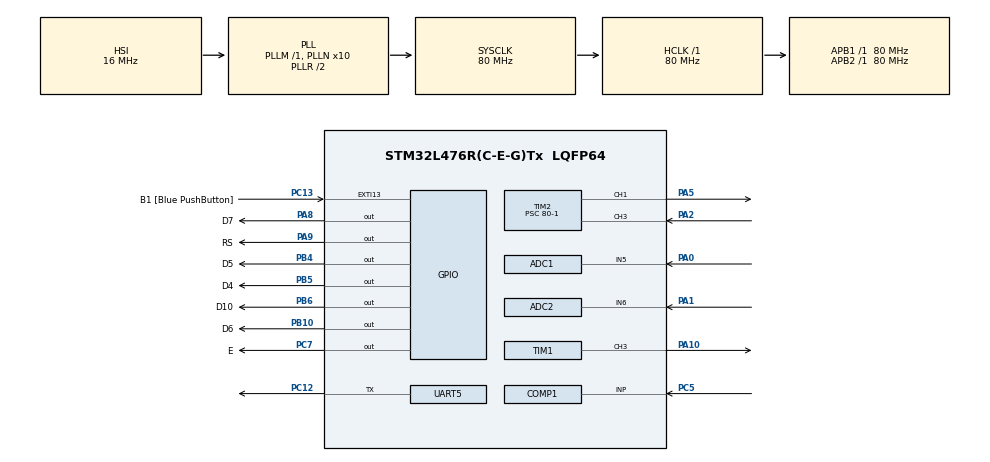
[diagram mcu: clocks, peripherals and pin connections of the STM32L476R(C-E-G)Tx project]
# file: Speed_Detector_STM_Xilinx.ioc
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ADC1.Channel-0\#ChannelRegularConversion=ADC_CHANNEL_5
ADC1.ClockPrescaler=ADC_CLOCK_ASYNC_DIV64
ADC1.ContinuousConvMode=ENABLE
ADC1.DMAContinuousRequests=ENABLE
ADC1.NbrOfConversionFlag=1
ADC1.OffsetNumber-0\#ChannelRegularConversion=ADC_OFFSET_NONE
ADC1.Rank-0\#ChannelRegularConversion=1
ADC1.SamplingTime-0\#ChannelRegularConversion=ADC_SAMPLETIME_2CYCLES_5
ADC1.master=1
ADC2.Channel-1\#ChannelRegularConversion=ADC_CHANNEL_6
ADC2.ClockPrescaler=ADC_CLOCK_ASYNC_DIV64
ADC2.ContinuousConvMode=ENABLE
ADC2.DMAContinuousRequests=ENABLE
ADC2.NbrOfConversionFlag=1
ADC2.OffsetNumber-1\#ChannelRegularConversion=ADC_OFFSET_NONE
ADC2.Rank-1\#ChannelRegularConversion=1
ADC2.SamplingTime-1\#ChannelRegularConversion=ADC_SAMPLETIME_247CYCLES_5
COMP1.Hysteresis=COMP_HYSTERESIS_HIGH
COMP1.TriggerMode=COMP_TRIGGERMODE_IT_RISING
Dma.ADC1.0.Direction=DMA_PERIPH_TO_MEMORY
Dma.ADC1.0.Instance=DMA1_Channel1
Dma.ADC1.0.MemDataAlignment=DMA_MDATAALIGN_WORD
Dma.ADC1.0.MemInc=DMA_MINC_ENABLE
Dma.ADC1.0.Mode=DMA_CIRCULAR
Dma.ADC1.0.PeriphDataAlignment=DMA_PDATAALIGN_WORD
Dma.ADC1.0.PeriphInc=DMA_PINC_DISABLE
Dma.ADC1.0.Priority=DMA_PRIORITY_LOW
Dma.ADC2.1.Direction=DMA_PERIPH_TO_MEMORY
Dma.ADC2.1.Instance=DMA1_Channel2
Dma.ADC2.1.MemDataAlignment=DMA_MDATAALIGN_WORD
Dma.ADC2.1.MemInc=DMA_MINC_ENABLE
Dma.ADC2.1.Mode=DMA_NORMAL
Dma.ADC2.1.PeriphDataAlignment=DMA_PDATAALIGN_WORD
Dma.ADC2.1.PeriphInc=DMA_PINC_DISABLE
Dma.ADC2.1.Priority=DMA_PRIORITY_LOW
Dma.Request0=ADC1
Dma.Request1=ADC2
Mcu.Family=STM32L4
Mcu.Name=STM32L476R(C-E-G)Tx
Mcu.Package=LQFP64
NVIC.COMP_IRQn=true\:0\:0\:false\:false\:true\:false\:true\:true
NVIC.DMA1_Channel1_IRQn=true\:0\:0\:false\:false\:true\:false\:true\:true
NVIC.DMA1_Channel2_IRQn=true\:0\:0\:false\:false\:true\:false\:true\:true
NVIC.PriorityGroup=NVIC_PRIORITYGROUP_4
NVIC.TIM2_IRQn=true\:0\:0\:false\:false\:true\:true\:true\:true
NVIC.UART5_IRQn=true\:0\:0\:false\:false\:true\:true\:true\:true
PA0.Signal=ADCx_IN5
PA1.Signal=ADCx_IN6
PA10.Signal=S_TIM1_CH3
PA13\ (JTMS-SWDIO).GPIO_Label=TMS
PA13\ (JTMS-SWDIO).Mode=Serial_Wire
PA13\ (JTMS-SWDIO).Signal=SYS_JTMS-SWDIO
PA14\ (JTCK-SWCLK).GPIO_Label=TCK
PA14\ (JTCK-SWCLK).Mode=Serial_Wire
PA14\ (JTCK-SWCLK).Signal=SYS_JTCK-SWCLK
PA2.Signal=S_TIM2_CH3
PA5.Signal=S_TIM2_CH1
PA8.GPIO_Label=D7
PA8.Signal=GPIO_Output
PA9.GPIO_Label=RS
PA9.Signal=GPIO_Output
PB10.GPIO_Label=D6
PB10.Signal=GPIO_Output
PB3\ (JTDO-TRACESWO).GPIO_Label=SWO
PB3\ (JTDO-TRACESWO).Signal=SYS_JTDO-SWO
PB4\ (NJTRST).GPIO_Label=D5
PB4\ (NJTRST).Signal=GPIO_Output
PB5.GPIO_Label=D4
PB5.Signal=GPIO_Output
PB6.GPIO_Label=D10
PB6.Signal=GPIO_Output
PC12.Mode=Half_duplex(single_wire_mode)
PC12.Signal=UART5_TX
PC13.GPIO_Label=B1 [Blue PushButton]
PC13.GPIO_ModeDefaultEXTI=GPIO_MODE_IT_FALLING
PC13.GPIO_PuPd=GPIO_NOPULL
PC13.Signal=GPXTI13
PC14-OSC32_IN\ (PC14).Mode=LSE-External-Oscillator
PC14-OSC32_IN\ (PC14).Signal=RCC_OSC32_IN
PC15-OSC32_OUT\ (PC15).Mode=LSE-External-Oscillator
PC15-OSC32_OUT\ (PC15).Signal=RCC_OSC32_OUT
PC5.Mode=INP
PC5.Signal=COMP1_INP
PC7.GPIO_Label=E
PC7.Signal=GPIO_Output
PH0-OSC_IN\ (PH0).Mode=HSE-External-Oscillator
PH0-OSC_IN\ (PH0).Signal=RCC_OSC_IN
PH1-OSC_OUT\ (PH1).Mode=HSE-External-Oscillator
PH1-OSC_OUT\ (PH1).Signal=RCC_OSC_OUT
ProjectManager.HeapSize=0x200
ProjectManager.StackSize=0x400
ProjectManager.TargetToolchain=STM32CubeIDE
RCC.ADCFreq_Value=64000000
RCC.AHBFreq_Value=80000000
RCC.APB1Freq_Value=80000000
RCC.APB1TimFreq_Value=80000000
RCC.APB2Freq_Value=80000000
RCC.APB2TimFreq_Value=80000000
RCC.CortexFreq_Value=80000000
RCC.HCLKFreq_Value=80000000
RCC.HSE_VALUE=8000000
RCC.HSI_VALUE=16000000
RCC.MSI_VALUE=4000000
RCC.PLLN=10
RCC.PLLSourceVirtual=RCC_PLLSOURCE_HSI
RCC.PREFETCH_ENABLE=1
RCC.SYSCLKFreq_VALUE=80000000
RCC.SYSCLKSource=RCC_SYSCLKSOURCE_PLLCLK
RCC.USBFreq_Value=64000000
RCC.VCOOutputFreq_Value=160000000
SH.ADCx_IN5.0=ADC1_IN5,IN5-Single-Ended
SH.ADCx_IN6.0=ADC2_IN6,IN6-Single-Ended
SH.S_TIM1_CH3.0=TIM1_CH3,PWM Generation3 CH3
SH.S_TIM2_CH1.0=TIM2_CH1,PWM Generation1 CH1
SH.S_TIM2_CH3.0=TIM2_CH3,Input_Capture3_from_TI3
TIM1.Channel-PWM\ Generation3\ CH3=TIM_CHANNEL_3
TIM1.Period=100-1
TIM1.Prescaler=80-1
TIM16.Prescaler=79
TIM2.Channel-Input_Capture3_from_TI3=TIM_CHANNEL_3
TIM2.Channel-PWM\ Generation1\ CH1=TIM_CHANNEL_1
TIM2.Period=3999999
TIM2.Prescaler=80-1
UART5.BaudRate=57600
UART5.Mode=MODE_TX
VP_COMP1_VS_VREFINT.Mode=VREFINT
VP_TIM16_VS_ClockSourceINT.Mode=Enable_Timer
VP_TIM1_VS_ClockSourceINT.Mode=Internal
VP_TIM2_VS_ClockSourceINT.Mode=Internal
board=NUCLEO-L476RG

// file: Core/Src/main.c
/* USER CODE BEGIN Header */
/**
  ******************************************************************************
  * @file           : main.c
  * @brief          : Main program body
  ******************************************************************************
  * @attention
  *
  * Copyright (c) 2022 STMicroelectronics.
  * All rights reserved.
  *
  * This software is licensed under terms that can be found in the LICENSE file
  * in the root directory of this software component.
  * If no LICENSE file comes with this software, it is provided AS-IS.
  *
  ******************************************************************************
  */
/* USER CODE END Header */
#include "main.h"

/* USER CODE BEGIN Includes */
#include "display.h"
#include "comparator.h"
#include "FFT.h"
#include <string.h>
#include <stdio.h>
#include "math.h"

#define FFT_Length 4096
/* USER CODE END Includes */

ADC_HandleTypeDef hadc1;
ADC_HandleTypeDef hadc2;
DMA_HandleTypeDef hdma_adc1;
DMA_HandleTypeDef hdma_adc2;

COMP_HandleTypeDef hcomp1;

TIM_HandleTypeDef htim1;
TIM_HandleTypeDef htim2;
TIM_HandleTypeDef htim16;

UART_HandleTypeDef huart5;

void SystemClock_Config(void);
void PeriphCommonClock_Config(void);
static void MX_GPIO_Init(void);
static void MX_DMA_Init(void);
static void MX_TIM16_Init(void);
static void MX_COMP1_Init(void);
static void MX_TIM2_Init(void);
static void MX_ADC1_Init(void);
static void MX_ADC2_Init(void);
static void MX_TIM1_Init(void);
static void MX_UART5_Init(void);

/* USER CODE BEGIN 0 */
uint32_t adc_buf[FFT_Length];
uint32_t lcd_buf;

int flag = 0;
uint32_t adc_frequency = 0;

void HAL_COMP_TriggerCallback(COMP_HandleTypeDef *hcomp){
	rising_edge_trigger(hcomp, &hcomp1, &htim16);
}

void HAL_TIM_PeriodElapsedCallback(TIM_HandleTypeDef* htim){
	Update_rollover(htim, &htim16);
}

void HAL_ADC_ConvCpltCallback(ADC_HandleTypeDef *hadc){
	if(hadc==&hadc2){
		flag = 1;
		HAL_ADC_Stop_DMA(&hadc2);
	}
}

uint32_t get_adc_frequency(){
	return adc_frequency;
}

/* USER CODE END 0 */

int main(void)
{
  /* USER CODE BEGIN 1 */
	//char uart_buf[50];
	//int uart_buf_len;
	struct ADC_param ADC_val={0};
	struct FFT_res FFT_val={0};
  /* USER CODE END 1 */

  /* MCU Configuration--------------------------------------------------------*/

  /* Reset of all peripherals, Initializes the Flash interface and the Systick. */
  HAL_Init();

  /* Configure the system clock */
  SystemClock_Config();

/* Configure the peripherals common clocks */
  PeriphCommonClock_Config();

  /* Initialize all configured peripherals */
  MX_GPIO_Init();
  MX_DMA_Init();
  MX_TIM16_Init();
  MX_COMP1_Init();
  MX_TIM2_Init();
  MX_ADC1_Init();
  MX_ADC2_Init();
  MX_TIM1_Init();
  MX_UART5_Init();
  /* USER CODE BEGIN 2 */
  //-----------------LCD
  HAL_ADC_Start_DMA(&hadc1, &lcd_buf,1); // Start ADC reading from DMA (ADC_name, buffer, buffer_length)
  LCD_init(GPIOA, RS_Pin, GPIOC, E_Pin, GPIOB, D4_Pin, GPIOB, D5_Pin, GPIOB, D6_Pin, GPIOA, D7_Pin, GPIOB, D10_Pin);
  //-----------------COMP
  HAL_TIM_Base_Start_IT(&htim16);
  HAL_COMP_Start(&hcomp1);
  //set up PWM for COMP testing
  HAL_TIM_PWM_Start(&htim2, TIM_CHANNEL_1);
  __HAL_TIM_SET_COMPARE(&htim2, TIM_CHANNEL_1, 1999999);

  //-----------------ADC
  HAL_ADC_Start_DMA(&hadc2, (uint32_t*)adc_buf, 4096);
  ADC_val.bit=12; //largest ADC bit resolution, 16-bit doesn't work
  ADC_val.prescaler=64; //prescalar of clock, cannot be too high or have weird reading
  ADC_val.sampling_time=247.5; //sampling time
  ADC_val.speed=64000000;					//clock speed on .ioc file
  ADC_val.adc_buf_len=4096;				//buffer length
  //uint32_t adc_buf[4096];				//buffer array
  ADC_val.adc_buf= adc_buf;				//point adc_buf to ADC buffer array

  // ----------------TX
  //HAL_UART_Transmit_DMA(&huart5, &speed, 1);

  /* USER CODE END 2 */

  /* Infinite loop */
  while (1)
  {

    /* USER CODE BEGIN 3 */

	if (flag == 1){
		start_FFT(&flag,&ADC_val,&FFT_val); // start FFT
		adc_frequency = (FFT_val.fdominant); // assign frequency obtained from ADC
		HAL_ADC_Start_DMA(&hadc2, adc_buf, ADC_val.adc_buf_len); //restart DMA
	}
	  //to read the keypad buttons if any is pressed
	  keypad_read_key(lcd_buf, &huart5);
  }
  /* USER CODE END 3 */
}

void SystemClock_Config(void)
{
  RCC_OscInitTypeDef RCC_OscInitStruct = {0};
  RCC_ClkInitTypeDef RCC_ClkInitStruct = {0};

  /** Configure the main internal regulator output voltage
  */
  if (HAL_PWREx_ControlVoltageScaling(PWR_REGULATOR_VOLTAGE_SCALE1) != HAL_OK)
  {
    Error_Handler();
  }

  /** Initializes the RCC Oscillators according to the specified parameters
  * in the RCC_OscInitTypeDef structure.
  */
  RCC_OscInitStruct.OscillatorType = RCC_OSCILLATORTYPE_HSI;
  RCC_OscInitStruct.HSIState = RCC_HSI_ON;
  RCC_OscInitStruct.HSICalibrationValue = RCC_HSICALIBRATION_DEFAULT;
  RCC_OscInitStruct.PLL.PLLState = RCC_PLL_ON;
  RCC_OscInitStruct.PLL.PLLSource = RCC_PLLSOURCE_HSI;
  RCC_OscInitStruct.PLL.PLLM = 1;
  RCC_OscInitStruct.PLL.PLLN = 10;
  RCC_OscInitStruct.PLL.PLLP = RCC_PLLP_DIV7;
  RCC_OscInitStruct.PLL.PLLQ = RCC_PLLQ_DIV2;
  RCC_OscInitStruct.PLL.PLLR = RCC_PLLR_DIV2;
  if (HAL_RCC_OscConfig(&RCC_OscInitStruct) != HAL_OK)
  {
    Error_Handler();
  }

  /** Initializes the CPU, AHB and APB buses clocks
  */
  RCC_ClkInitStruct.ClockType = RCC_CLOCKTYPE_HCLK|RCC_CLOCKTYPE_SYSCLK
                              |RCC_CLOCKTYPE_PCLK1|RCC_CLOCKTYPE_PCLK2;
  RCC_ClkInitStruct.SYSCLKSource = RCC_SYSCLKSOURCE_PLLCLK;
  RCC_ClkInitStruct.AHBCLKDivider = RCC_SYSCLK_DIV1;
  RCC_ClkInitStruct.APB1CLKDivider = RCC_HCLK_DIV1;
  RCC_ClkInitStruct.APB2CLKDivider = RCC_HCLK_DIV1;

  if (HAL_RCC_ClockConfig(&RCC_ClkInitStruct, FLASH_LATENCY_4) != HAL_OK)
  {
    Error_Handler();
  }
}

void PeriphCommonClock_Config(void)
{
  RCC_PeriphCLKInitTypeDef PeriphClkInit = {0};

  /** Initializes the peripherals clock
  */
  PeriphClkInit.PeriphClockSelection = RCC_PERIPHCLK_ADC;
  PeriphClkInit.AdcClockSelection = RCC_ADCCLKSOURCE_PLLSAI1;
  PeriphClkInit.PLLSAI1.PLLSAI1Source = RCC_PLLSOURCE_HSI;
  PeriphClkInit.PLLSAI1.PLLSAI1M = 1;
  PeriphClkInit.PLLSAI1.PLLSAI1N = 8;
  PeriphClkInit.PLLSAI1.PLLSAI1P = RCC_PLLP_DIV7;
  PeriphClkInit.PLLSAI1.PLLSAI1Q = RCC_PLLQ_DIV2;
  PeriphClkInit.PLLSAI1.PLLSAI1R = RCC_PLLR_DIV2;
  PeriphClkInit.PLLSAI1.PLLSAI1ClockOut = RCC_PLLSAI1_ADC1CLK;
  if (HAL_RCCEx_PeriphCLKConfig(&PeriphClkInit) != HAL_OK)
  {
    Error_Handler();
  }
}

static void MX_ADC1_Init(void)
{

  ADC_MultiModeTypeDef multimode = {0};
  ADC_ChannelConfTypeDef sConfig = {0};

  /** Common config
  */
  hadc1.Instance = ADC1;
  hadc1.Init.ClockPrescaler = ADC_CLOCK_ASYNC_DIV64;
  hadc1.Init.Resolution = ADC_RESOLUTION_12B;
  hadc1.Init.DataAlign = ADC_DATAALIGN_RIGHT;
  hadc1.Init.ScanConvMode = ADC_SCAN_DISABLE;
  hadc1.Init.EOCSelection = ADC_EOC_SINGLE_CONV;
  hadc1.Init.LowPowerAutoWait = DISABLE;
  hadc1.Init.ContinuousConvMode = ENABLE;
  hadc1.Init.NbrOfConversion = 1;
  hadc1.Init.DiscontinuousConvMode = DISABLE;
  hadc1.Init.ExternalTrigConv = ADC_SOFTWARE_START;
  hadc1.Init.ExternalTrigConvEdge = ADC_EXTERNALTRIGCONVEDGE_NONE;
  hadc1.Init.DMAContinuousRequests = ENABLE;
  hadc1.Init.Overrun = ADC_OVR_DATA_PRESERVED;
  hadc1.Init.OversamplingMode = DISABLE;
  if (HAL_ADC_Init(&hadc1) != HAL_OK)
  {
    Error_Handler();
  }

  /** Configure the ADC multi-mode
  */
  multimode.Mode = ADC_MODE_INDEPENDENT;
  if (HAL_ADCEx_MultiModeConfigChannel(&hadc1, &multimode) != HAL_OK)
  {
    Error_Handler();
  }

  /** Configure Regular Channel
  */
  sConfig.Channel = ADC_CHANNEL_5;
  sConfig.Rank = ADC_REGULAR_RANK_1;
  sConfig.SamplingTime = ADC_SAMPLETIME_2CYCLES_5;
  sConfig.SingleDiff = ADC_SINGLE_ENDED;
  sConfig.OffsetNumber = ADC_OFFSET_NONE;
  sConfig.Offset = 0;
  if (HAL_ADC_ConfigChannel(&hadc1, &sConfig) != HAL_OK)
  {
    Error_Handler();
  }

}

static void MX_ADC2_Init(void)
{

  ADC_ChannelConfTypeDef sConfig = {0};

  /** Common config
  */
  hadc2.Instance = ADC2;
  hadc2.Init.ClockPrescaler = ADC_CLOCK_ASYNC_DIV64;
  hadc2.Init.Resolution = ADC_RESOLUTION_12B;
  hadc2.Init.DataAlign = ADC_DATAALIGN_RIGHT;
  hadc2.Init.ScanConvMode = ADC_SCAN_DISABLE;
  hadc2.Init.EOCSelection = ADC_EOC_SINGLE_CONV;
  hadc2.Init.LowPowerAutoWait = DISABLE;
  hadc2.Init.ContinuousConvMode = ENABLE;
  hadc2.Init.NbrOfConversion = 1;
  hadc2.Init.DiscontinuousConvMode = DISABLE;
  hadc2.Init.ExternalTrigConv = ADC_SOFTWARE_START;
  hadc2.Init.ExternalTrigConvEdge = ADC_EXTERNALTRIGCONVEDGE_NONE;
  hadc2.Init.DMAContinuousRequests = ENABLE;
  hadc2.Init.Overrun = ADC_OVR_DATA_PRESERVED;
  hadc2.Init.OversamplingMode = DISABLE;
  if (HAL_ADC_Init(&hadc2) != HAL_OK)
  {
    Error_Handler();
  }

  /** Configure Regular Channel
  */
  sConfig.Channel = ADC_CHANNEL_6;
  sConfig.Rank = ADC_REGULAR_RANK_1;
  sConfig.SamplingTime = ADC_SAMPLETIME_247CYCLES_5;
  sConfig.SingleDiff = ADC_SINGLE_ENDED;
  sConfig.OffsetNumber = ADC_OFFSET_NONE;
  sConfig.Offset = 0;
  if (HAL_ADC_ConfigChannel(&hadc2, &sConfig) != HAL_OK)
  {
    Error_Handler();
  }

}

static void MX_COMP1_Init(void)
{

  hcomp1.Instance = COMP1;
  hcomp1.Init.InvertingInput = COMP_INPUT_MINUS_VREFINT;
  hcomp1.Init.NonInvertingInput = COMP_INPUT_PLUS_IO1;
  hcomp1.Init.OutputPol = COMP_OUTPUTPOL_NONINVERTED;
  hcomp1.Init.Hysteresis = COMP_HYSTERESIS_HIGH;
  hcomp1.Init.BlankingSrce = COMP_BLANKINGSRC_NONE;
  hcomp1.Init.Mode = COMP_POWERMODE_HIGHSPEED;
  hcomp1.Init.WindowMode = COMP_WINDOWMODE_DISABLE;
  hcomp1.Init.TriggerMode = COMP_TRIGGERMODE_IT_RISING;
  if (HAL_COMP_Init(&hcomp1) != HAL_OK)
  {
    Error_Handler();
  }

}

static void MX_TIM1_Init(void)
{

  TIM_ClockConfigTypeDef sClockSourceConfig = {0};
  TIM_MasterConfigTypeDef sMasterConfig = {0};
  TIM_OC_InitTypeDef sConfigOC = {0};
  TIM_BreakDeadTimeConfigTypeDef sBreakDeadTimeConfig = {0};

  htim1.Instance = TIM1;
  htim1.Init.Prescaler = 80-1;
  htim1.Init.CounterMode = TIM_COUNTERMODE_UP;
  htim1.Init.Period = 100-1;
  htim1.Init.ClockDivision = TIM_CLOCKDIVISION_DIV1;
  htim1.Init.RepetitionCounter = 0;
  htim1.Init.AutoReloadPreload = TIM_AUTORELOAD_PRELOAD_DISABLE;
  if (HAL_TIM_Base_Init(&htim1) != HAL_OK)
  {
    Error_Handler();
  }
  sClockSourceConfig.ClockSource = TIM_CLOCKSOURCE_INTERNAL;
  if (HAL_TIM_ConfigClockSource(&htim1, &sClockSourceConfig) != HAL_OK)
  {
    Error_Handler();
  }
  if (HAL_TIM_PWM_Init(&htim1) != HAL_OK)
  {
    Error_Handler();
  }
  sMasterConfig.MasterOutputTrigger = TIM_TRGO_RESET;
  sMasterConfig.MasterOutputTrigger2 = TIM_TRGO2_RESET;
  sMasterConfig.MasterSlaveMode = TIM_MASTERSLAVEMODE_DISABLE;
  if (HAL_TIMEx_MasterConfigSynchronization(&htim1, &sMasterConfig) != HAL_OK)
  {
    Error_Handler();
  }
  sConfigOC.OCMode = TIM_OCMODE_PWM1;
  sConfigOC.Pulse = 0;
  sConfigOC.OCPolarity = TIM_OCPOLARITY_HIGH;
  sConfigOC.OCNPolarity = TIM_OCNPOLARITY_HIGH;
  sConfigOC.OCFastMode = TIM_OCFAST_DISABLE;
  sConfigOC.OCIdleState = TIM_OCIDLESTATE_RESET;
  sConfigOC.OCNIdleState = TIM_OCNIDLESTATE_RESET;
  if (HAL_TIM_PWM_ConfigChannel(&htim1, &sConfigOC, TIM_CHANNEL_3) != HAL_OK)
  {
    Error_Handler();
  }
  sBreakDeadTimeConfig.OffStateRunMode = TIM_OSSR_DISABLE;
  sBreakDeadTimeConfig.OffStateIDLEMode = TIM_OSSI_DISABLE;
  sBreakDeadTimeConfig.LockLevel = TIM_LOCKLEVEL_OFF;
  sBreakDeadTimeConfig.DeadTime = 0;
  sBreakDeadTimeConfig.BreakState = TIM_BREAK_DISABLE;
  sBreakDeadTimeConfig.BreakPolarity = TIM_BREAKPOLARITY_HIGH;
  sBreakDeadTimeConfig.BreakFilter = 0;
  sBreakDeadTimeConfig.Break2State = TIM_BREAK2_DISABLE;
  sBreakDeadTimeConfig.Break2Polarity = TIM_BREAK2POLARITY_HIGH;
  sBreakDeadTimeConfig.Break2Filter = 0;
  sBreakDeadTimeConfig.AutomaticOutput = TIM_AUTOMATICOUTPUT_DISABLE;
  if (HAL_TIMEx_ConfigBreakDeadTime(&htim1, &sBreakDeadTimeConfig) != HAL_OK)
  {
    Error_Handler();
  }
  HAL_TIM_MspPostInit(&htim1);

}

static void MX_TIM2_Init(void)
{

  TIM_ClockConfigTypeDef sClockSourceConfig = {0};
  TIM_MasterConfigTypeDef sMasterConfig = {0};
  TIM_OC_InitTypeDef sConfigOC = {0};
  TIM_IC_InitTypeDef sConfigIC = {0};

  htim2.Instance = TIM2;
  htim2.Init.Prescaler = 80-1;
  htim2.Init.CounterMode = TIM_COUNTERMODE_UP;
  htim2.Init.Period = 3999999;
  htim2.Init.ClockDivision = TIM_CLOCKDIVISION_DIV1;
  htim2.Init.AutoReloadPreload = TIM_AUTORELOAD_PRELOAD_DISABLE;
  if (HAL_TIM_Base_Init(&htim2) != HAL_OK)
  {
    Error_Handler();
  }
  sClockSourceConfig.ClockSource = TIM_CLOCKSOURCE_INTERNAL;
  if (HAL_TIM_ConfigClockSource(&htim2, &sClockSourceConfig) != HAL_OK)
  {
    Error_Handler();
  }
  if (HAL_TIM_PWM_Init(&htim2) != HAL_OK)
  {
    Error_Handler();
  }
  if (HAL_TIM_IC_Init(&htim2) != HAL_OK)
  {
    Error_Handler();
  }
  sMasterConfig.MasterOutputTrigger = TIM_TRGO_RESET;
  sMasterConfig.MasterSlaveMode = TIM_MASTERSLAVEMODE_DISABLE;
  if (HAL_TIMEx_MasterConfigSynchronization(&htim2, &sMasterConfig) != HAL_OK)
  {
    Error_Handler();
  }
  sConfigOC.OCMode = TIM_OCMODE_PWM1;
  sConfigOC.Pulse = 0;
  sConfigOC.OCPolarity = TIM_OCPOLARITY_HIGH;
  sConfigOC.OCFastMode = TIM_OCFAST_DISABLE;
  if (HAL_TIM_PWM_ConfigChannel(&htim2, &sConfigOC, TIM_CHANNEL_1) != HAL_OK)
  {
    Error_Handler();
  }
  sConfigIC.ICPolarity = TIM_INPUTCHANNELPOLARITY_RISING;
  sConfigIC.ICSelection = TIM_ICSELECTION_DIRECTTI;
  sConfigIC.ICPrescaler = TIM_ICPSC_DIV1;
  sConfigIC.ICFilter = 0;
  if (HAL_TIM_IC_ConfigChannel(&htim2, &sConfigIC, TIM_CHANNEL_3) != HAL_OK)
  {
    Error_Handler();
  }
  HAL_TIM_MspPostInit(&htim2);

}

static void MX_TIM16_Init(void)
{

  htim16.Instance = TIM16;
  htim16.Init.Prescaler = 79;
  htim16.Init.CounterMode = TIM_COUNTERMODE_UP;
  htim16.Init.Period = 65535;
  htim16.Init.ClockDivision = TIM_CLOCKDIVISION_DIV1;
  htim16.Init.RepetitionCounter = 0;
  htim16.Init.AutoReloadPreload = TIM_AUTORELOAD_PRELOAD_DISABLE;
  if (HAL_TIM_Base_Init(&htim16) != HAL_OK)
  {
    Error_Handler();
  }

}

static void MX_UART5_Init(void)
{

  huart5.Instance = UART5;
  huart5.Init.BaudRate = 57600;
  huart5.Init.WordLength = UART_WORDLENGTH_8B;
  huart5.Init.StopBits = UART_STOPBITS_1;
  huart5.Init.Parity = UART_PARITY_NONE;
  huart5.Init.Mode = UART_MODE_TX;
  huart5.Init.HwFlowCtl = UART_HWCONTROL_NONE;
  huart5.Init.OverSampling = UART_OVERSAMPLING_16;
  huart5.Init.OneBitSampling = UART_ONE_BIT_SAMPLE_DISABLE;
  huart5.AdvancedInit.AdvFeatureInit = UART_ADVFEATURE_NO_INIT;
  if (HAL_HalfDuplex_Init(&huart5) != HAL_OK)
  {
    Error_Handler();
  }

}

static void MX_DMA_Init(void)
{

  /* DMA controller clock enable */
  __HAL_RCC_DMA1_CLK_ENABLE();

  /* DMA interrupt init */
  /* DMA1_Channel1_IRQn interrupt configuration */
  HAL_NVIC_SetPriority(DMA1_Channel1_IRQn, 0, 0);
  HAL_NVIC_EnableIRQ(DMA1_Channel1_IRQn);
  /* DMA1_Channel2_IRQn interrupt configuration */
  HAL_NVIC_SetPriority(DMA1_Channel2_IRQn, 0, 0);
  HAL_NVIC_EnableIRQ(DMA1_Channel2_IRQn);

}

static void MX_GPIO_Init(void)
{
  GPIO_InitTypeDef GPIO_InitStruct = {0};

  /* GPIO Ports Clock Enable */
  __HAL_RCC_GPIOC_CLK_ENABLE();
  __HAL_RCC_GPIOH_CLK_ENABLE();
  __HAL_RCC_GPIOA_CLK_ENABLE();
  __HAL_RCC_GPIOB_CLK_ENABLE();

  /*Configure GPIO pin Output Level */
  HAL_GPIO_WritePin(GPIOB, D6_Pin|D5_Pin|D4_Pin|D10_Pin, GPIO_PIN_RESET);

  /*Configure GPIO pin Output Level */
  HAL_GPIO_WritePin(E_GPIO_Port, E_Pin, GPIO_PIN_RESET);

  /*Configure GPIO pin Output Level */
  HAL_GPIO_WritePin(GPIOA, D7_Pin|RS_Pin, GPIO_PIN_RESET);

  /*Configure GPIO pin : B1_Pin */
  GPIO_InitStruct.Pin = B1_Pin;
  GPIO_InitStruct.Mode = GPIO_MODE_IT_FALLING;
  GPIO_InitStruct.Pull = GPIO_NOPULL;
  HAL_GPIO_Init(B1_GPIO_Port, &GPIO_InitStruct);

  /*Configure GPIO pins : D6_Pin D5_Pin D4_Pin D10_Pin */
  GPIO_InitStruct.Pin = D6_Pin|D5_Pin|D4_Pin|D10_Pin;
  GPIO_InitStruct.Mode = GPIO_MODE_OUTPUT_PP;
  GPIO_InitStruct.Pull = GPIO_NOPULL;
  GPIO_InitStruct.Speed = GPIO_SPEED_FREQ_LOW;
  HAL_GPIO_Init(GPIOB, &GPIO_InitStruct);

  /*Configure GPIO pin : E_Pin */
  GPIO_InitStruct.Pin = E_Pin;
  GPIO_InitStruct.Mode = GPIO_MODE_OUTPUT_PP;
  GPIO_InitStruct.Pull = GPIO_NOPULL;
  GPIO_InitStruct.Speed = GPIO_SPEED_FREQ_LOW;
  HAL_GPIO_Init(E_GPIO_Port, &GPIO_InitStruct);

  /*Configure GPIO pins : D7_Pin RS_Pin */
  GPIO_InitStruct.Pin = D7_Pin|RS_Pin;
  GPIO_InitStruct.Mode = GPIO_MODE_OUTPUT_PP;
  GPIO_InitStruct.Pull = GPIO_NOPULL;
  GPIO_InitStruct.Speed = GPIO_SPEED_FREQ_LOW;
  HAL_GPIO_Init(GPIOA, &GPIO_InitStruct);

}

/* USER CODE BEGIN 4 */

//call when first half of buffer is filled
//void HAL_ADC_ConvHalfCpltCallback(ADC_HandleTypeDef* hadc){
//	HAL_GPIO_WritePin(LD2_GPIO_Port, LD2_Pin, GPIO_PIN_SET);
//}

//call when buffer is completely filled
//void HAL_ADC_ConvCpltCallback(ADC_HandleTypeDef* hadc){
//	HAL_GPIO_WritePin(LD2_GPIO_Port, LD2_Pin, GPIO_PIN_RESET);
//}

/* USER CODE END 4 */

void Error_Handler(void)
{
  __disable_irq();
  while (1)
  {
  }
}
